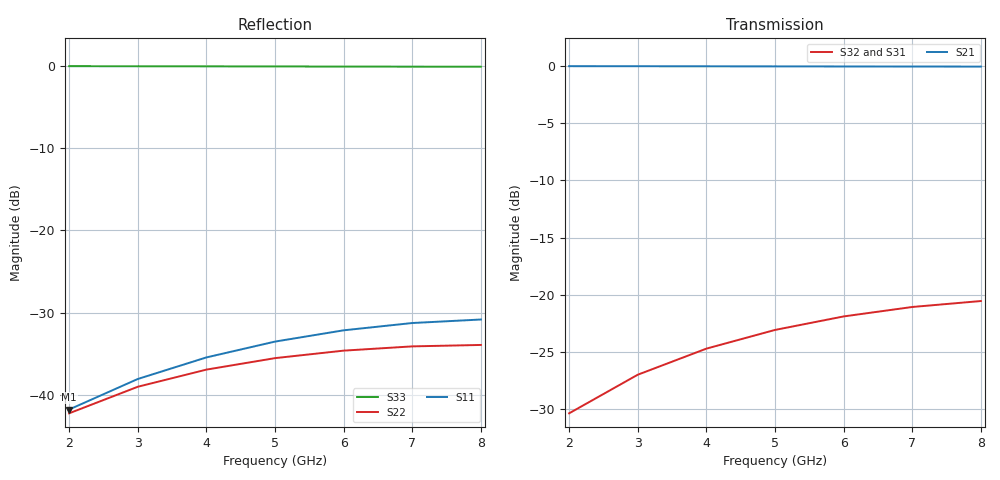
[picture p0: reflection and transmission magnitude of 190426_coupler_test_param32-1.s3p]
! Sonnet Data File
! From: emgraph Version : 16.56
! From Project: 190426_coupler_test
! Data is De-embedded
! Data File Written: 05/06/2019 15:59:44
!< HDATE 04/25/2019 10:48:44
!< MDATE 04/25/2019 10:59:35
!< PARAMS
!< tandelta = 0.0
!< t_aSi = 0.25
!< W = 10.0
!< Lcoupler = 3100.0
!< END PARAMS
# GHZ S MA R 50.0 !  non standard terminations in data
! TERM 50.00000 0.000000 50.00000 0.000000 63.84000 0.000000
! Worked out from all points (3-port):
!   7 points, 2 GHz to 8 GHz, reference 50 ohm
!   strongest paths, dB at 2 GHz, 3 GHz, 5 GHz, 7 GHz, 8 GHz:
!     S21: 0.0, 0.0, 0.0, 0.0, 0.0
!     S32: -30.4, -27.0, -23.1, -21.1, -20.6
!     S31: -30.4, -27.1, -23.2, -21.3, -20.8
!   lowest |S11| = -41.8 dB at 2 GHz (marker M1), VSWR 1.02, Z = 50.2 + j0.78 ohm
!   |S11| at or under -10 dB: start of sweep to end of sweep
2  0.008117 73.0  0.9995 -21.7  0.03015 44.8
   0.9995 -21.7  0.007696 69.4  0.03026 70.5
   0.03015 44.8  0.03026 70.5  0.9991 -43.3
3  0.01245 63.0  0.9989 -32.6  0.0443 22.2
   0.9989 -32.6  0.01116 59.2  0.04464 60.6
   0.0443 22.2  0.04464 60.6  0.998 -65.1
4  0.01685 51.7  0.9982 -43.5  0.05734 -0.5
   0.9982 -43.5  0.0142 48.9  0.05805 50.6
   0.05734 -0.5  0.05805 50.6  0.9967 -87.0
5  0.02103 39.2  0.9974 -54.3  0.0689 -23.2
   0.9974 -54.3  0.01668 38.8  0.07008 40.4
   0.0689 -23.2  0.07008 40.4  0.9952 -109.0
6  0.02464 25.7  0.9966 -65.1  0.07865 -45.9
   0.9966 -65.1  0.01853 28.7  0.08031 30.0
   0.07865 -45.9  0.08031 30.0  0.9937 -131.1
7  0.02729 11.4  0.9959 -75.9  0.08627 -68.7
   0.9959 -75.9  0.01967 18.6  0.08832 19.5
   0.08627 -68.7  0.08832 19.5  0.9923 -153.4
8  0.02866 -3.5  0.9954 -86.7  0.09152 -91.4
   0.9954 -86.7  0.02007 8.6  0.09378 9.0
   0.09152 -91.4  0.09378 9.0  0.9914 -175.7
